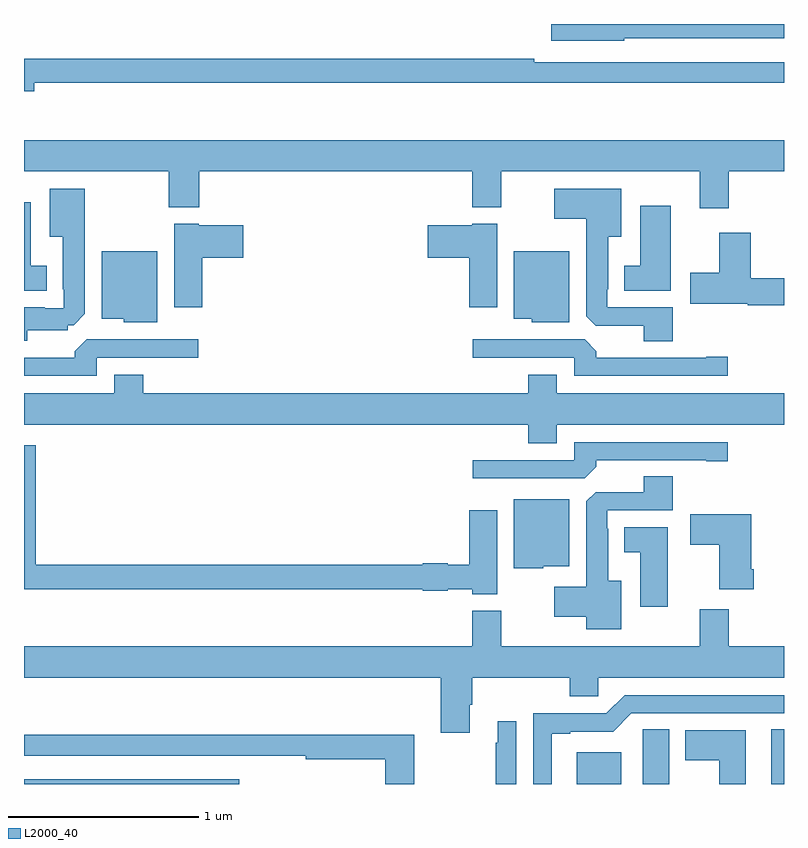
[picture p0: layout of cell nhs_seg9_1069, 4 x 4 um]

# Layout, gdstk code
import gdstk
lib = gdstk.Library(unit=1e-6, precision=1e-09)
def R(c, l, rs):  # rectangles x0, y0, x1, y1
    for r in rs: c.add(gdstk.rectangle(r[:2], r[2:], *l))
def P(c, l, *ps):  # polygons
    for p in ps: c.add(gdstk.Polygon(p, *l))
L2000_40 = (2000, 40)

nhs_seg9_1069 = lib.new_cell('nhs_seg9_1069')
R(nhs_seg9_1069, L2000_40, [(169,1222.5,170.134,1222.524), (171.908,1222.5,172.144,1222.666), (172.934,1222.5,173,1222.787)])
P(nhs_seg9_1069, L2000_40, [(172.158,1226.424),(173,1226.424),(173,1226.5),(171.774,1226.5),(171.774,1226.411),(172.158,1226.411)],
  [(169.054,1226.19),(173,1226.19),(173,1226.298),(171.686,1226.298),(171.686,1226.318),(169,1226.318),(169,1226.147),(169.054,1226.147)],
  [(172.709,1225.724),(173,1225.724),(173,1225.888),(169,1225.888),(169,1225.724),(169.762,1225.724),(169.762,1225.535),(169.922,1225.535),(169.922,1225.724),(171.359,1225.724),(171.359,1225.535),(171.511,1225.535),(171.511,1225.724),(172.556,1225.724),(172.556,1225.53),(172.709,1225.53)],
  [(172.415,1225.008),(172.071,1225.008),(172.071,1225.105),(172.075,1225.105),(172.075,1225.379),(172.144,1225.379),(172.144,1225.633),(171.792,1225.633),(171.792,1225.475),(171.959,1225.475),(171.959,1224.961),(172.008,1224.912),(172.262,1224.912),(172.262,1224.829),(172.415,1224.829)],
  [(169.018,1224.887),(169.23,1224.887),(169.23,1224.915),(169.261,1224.915),(169.321,1224.975),(169.321,1225.633),(169.136,1225.633),(169.136,1225.379),(169.205,1225.379),(169.205,1225.105),(169.209,1225.105),(169.209,1225.005),(169.109,1225.005),(169.109,1225.009),(169,1225.009),(169,1224.833),(169.018,1224.833)],
  [(169.12,1225.228),(169.036,1225.228),(169.036,1225.561),(169,1225.561),(169,1225.097),(169.12,1225.097)],
  [(172.405,1225.543),(172.244,1225.543),(172.244,1225.228),(172.16,1225.228),(172.16,1225.097),(172.405,1225.097)],
  [(169.937,1225.271),(170.155,1225.271),(170.155,1225.441),(169.92,1225.441),(169.92,1225.45),(169.79,1225.45),(169.79,1225.008),(169.937,1225.008)],
  [(171.49,1225.45),(171.36,1225.45),(171.36,1225.441),(171.126,1225.441),(171.126,1225.271),(171.344,1225.271),(171.344,1225.008),(171.49,1225.008)],
  [(173,1225.163),(172.826,1225.163),(172.826,1225.402),(172.658,1225.402),(172.658,1225.191),(172.506,1225.191),(172.506,1225.028),(172.809,1225.028),(172.809,1225.021),(173,1225.021)],
  [(169.702,1225.303),(169.409,1225.303),(169.409,1224.95),(169.524,1224.95),(169.524,1224.929),(169.702,1224.929)],
  [(171.871,1225.303),(171.578,1225.303),(171.578,1224.95),(171.672,1224.95),(171.672,1224.929),(171.871,1224.929)],
  [(172.705,1224.749),(172.592,1224.749),(172.592,1224.744),(172.013,1224.744),(172.013,1224.778),(171.951,1224.84),(171.363,1224.84),(171.363,1224.744),(171.897,1224.744),(171.897,1224.648),(172.705,1224.648)],
  [(169.383,1224.744),(169.918,1224.744),(169.918,1224.84),(169.329,1224.84),(169.268,1224.778),(169.268,1224.744),(169,1224.744),(169,1224.648),(169.383,1224.648)],
  [(171.805,1224.392),(173,1224.392),(173,1224.556),(171.805,1224.556),(171.805,1224.655),(171.653,1224.655),(171.653,1224.556),(169.628,1224.556),(169.628,1224.655),(169.475,1224.655),(169.475,1224.556),(169,1224.556),(169,1224.392),(171.653,1224.392),(171.653,1224.293),(171.805,1224.293)],
  [(172.013,1224.17),(172.013,1224.204),(172.592,1224.204),(172.592,1224.199),(172.705,1224.199),(172.705,1224.3),(171.897,1224.3),(171.897,1224.204),(171.363,1224.204),(171.363,1224.108),(171.951,1224.108)],
  [(171.49,1223.941),(171.344,1223.941),(171.344,1223.655),(171.23,1223.655),(171.23,1223.662),(171.099,1223.662),(171.099,1223.654),(169.061,1223.654),(169.061,1224.282),(169,1224.282),(169,1223.526),(171.099,1223.526),(171.099,1223.518),(171.23,1223.518),(171.23,1223.525),(171.36,1223.525),(171.36,1223.498),(171.49,1223.498)],
  [(172.144,1223.569),(172.075,1223.569),(172.075,1223.843),(172.071,1223.843),(172.071,1223.94),(172.415,1223.94),(172.415,1224.119),(172.262,1224.119),(172.262,1224.036),(172.008,1224.036),(171.959,1223.987),(171.959,1223.539),(171.792,1223.539),(171.792,1223.381),(171.959,1223.381),(171.959,1223.315),(172.144,1223.315)],
  [(171.732,1223.645),(171.871,1223.645),(171.871,1223.998),(171.578,1223.998),(171.578,1223.636),(171.732,1223.636)],
  [(172.841,1223.629),(172.828,1223.629),(172.828,1223.92),(172.506,1223.92),(172.506,1223.758),(172.658,1223.758),(172.658,1223.525),(172.841,1223.525)],
  [(172.387,1223.851),(172.16,1223.851),(172.16,1223.72),(172.244,1223.72),(172.244,1223.433),(172.387,1223.433)],
  [(171.346,1222.918),(171.359,1222.918),(171.359,1223.06),(171.872,1223.06),(171.872,1222.962),(172.023,1222.962),(172.023,1223.06),(173,1223.06),(173,1223.224),(172.709,1223.224),(172.709,1223.419),(172.556,1223.419),(172.556,1223.224),(171.511,1223.224),(171.511,1223.413),(171.359,1223.413),(171.359,1223.224),(169,1223.224),(169,1223.06),(171.194,1223.06),(171.194,1222.77),(171.346,1222.77)],
  [(171.778,1222.764),(171.874,1222.764),(171.874,1222.776),(172.101,1222.776),(172.197,1222.872),(173,1222.872),(173,1222.968),(172.161,1222.968),(172.065,1222.872),(171.681,1222.872),(171.681,1222.5),(171.778,1222.5)],
  [(171.591,1222.831),(171.494,1222.831),(171.494,1222.718),(171.483,1222.718),(171.483,1222.5),(171.591,1222.5)],
  [(172.396,1222.787),(172.257,1222.787),(172.257,1222.676),(172.256,1222.676),(172.256,1222.5),(172.396,1222.5)],
  [(172.798,1222.783),(172.481,1222.783),(172.481,1222.624),(172.658,1222.624),(172.658,1222.5),(172.798,1222.5)],
  [(171.054,1222.759),(169,1222.759),(169,1222.65),(170.23,1222.65),(170.23,1222.649),(170.482,1222.649),(170.482,1222.63),(170.9,1222.63),(170.9,1222.5),(171.054,1222.5)])

lib.write_gds('nhs_seg9_1069.gds')
